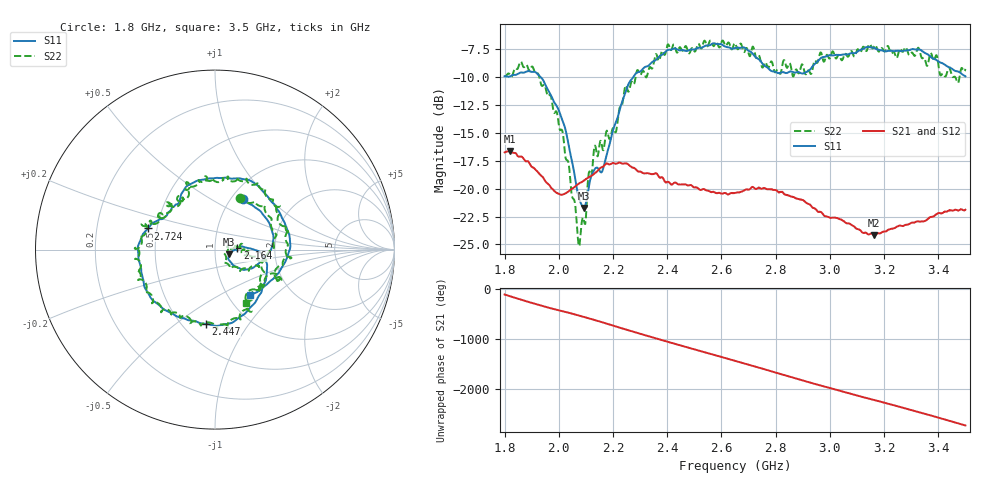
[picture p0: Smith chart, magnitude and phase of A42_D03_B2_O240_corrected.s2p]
! Created with skrf 1.9.0 (http://scikit-rf.org).
# Hz S RI R 50.0
!freq ReS11 ImS11 ReS21 ImS21 ReS12 ImS12 ReS22 ImS22
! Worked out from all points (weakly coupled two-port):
!   1601 points, 1.8 GHz to 3.5 GHz, reference 50 ohm
!   highest |S21| = -16.63 dB at 1.819 GHz (marker M1); lowest = -24.2 dB at 3.163 GHz (marker M2)
!   lowest |S11| = -21.7 dB at 2.092 GHz (marker M3), VSWR 1.18, Z = 58.4 - j2.97 ohm
!   |S11| at or under -10 dB: 1.933 GHz to 2.275 GHz (341.8 MHz wide, 16.2 % of centre)
!   |S22| runs from -25.2 to -6.7 dB; largest |S21 - S12| = 0.0025
!   S11 on the Smith chart (normalised r, x): 1.8 GHz: 1.13, +0.70; 2.164 GHz: 1.28, +0.02; 2.447 GHz: 0.65, -0.65; 2.724 GHz: 0.45, +0.12; 3.5 GHz: 1.25, -0.71
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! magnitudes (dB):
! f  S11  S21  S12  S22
! 1.8 GHz  -9.9  -16.7  -16.7  -9.9
! 1.819 GHz  -9.9  -16.6  -16.7  -9.8
! 1.903 GHz  -9.5  -18.1  -18.1  -9.1
! 1.968 GHz  -11.5  -19.8  -19.8  -11.6
! 2.014 GHz  -13.9  -20.5  -20.5  -14.9
! 2.072 GHz  -20.6  -19.6  -19.6  -24.9
! 2.084 GHz  -21.4  -19.4  -19.4  -23.2
! 2.092 GHz  -21.7  -19.3  -19.3  -22.8
! 2.131 GHz  -18.3  -18.6  -18.6  -16.2
! 2.164 GHz  -18.1  -18.0  -18.0  -16.6
! 2.259 GHz  -10.5  -17.9  -17.9  -11.2
! 2.367 GHz  -8.2  -18.9  -18.8  -8.5
! 2.447 GHz  -7.6  -19.6  -19.6  -7.3
! 2.65 GHz  -7.4  -20.4  -20.3  -7.0
! 2.724 GHz  -8.2  -20.0  -20.0  -8.0
! 2.808 GHz  -9.6  -20.3  -20.2  -9.3
! 2.934 GHz  -9.1  -21.6  -21.6  -9.6
! 3.163 GHz  -7.4  -24.2  -24.1  -7.2
! 3.217 GHz  -7.6  -23.7  -23.6  -7.4
! 3.391 GHz  -8.4  -22.3  -22.3  -8.1
! 3.469 GHz  -9.5  -21.9  -21.9  -10.4
! 3.5 GHz  -9.9  -21.9  -21.9  -9.3
